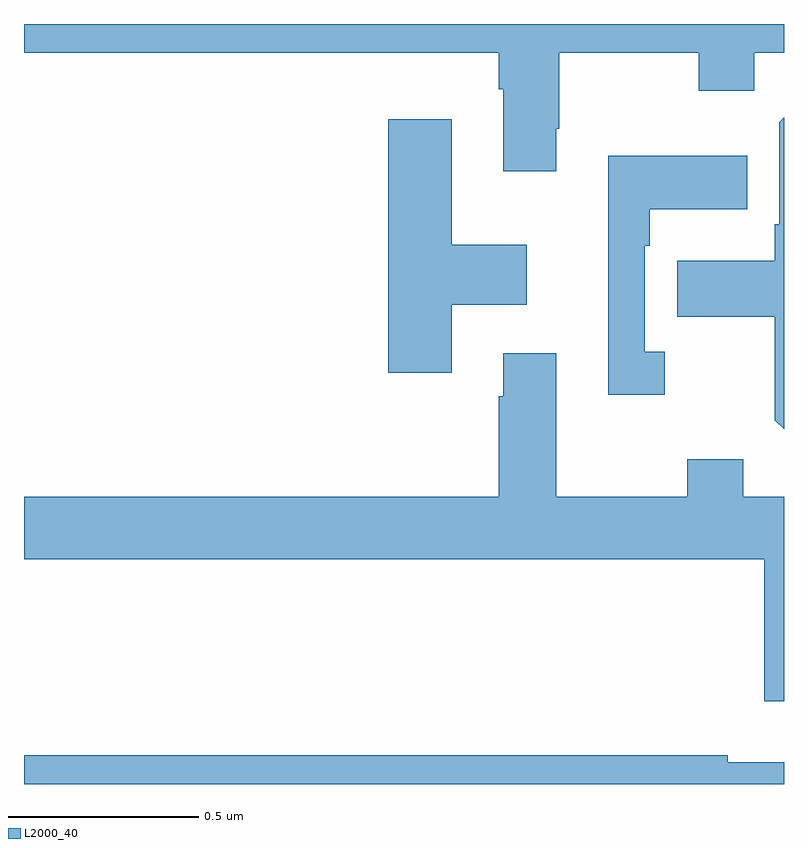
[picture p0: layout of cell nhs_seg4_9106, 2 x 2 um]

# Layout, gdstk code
import gdstk
lib = gdstk.Library(unit=1e-6, precision=1e-09)
def P(c, l, *ps):  # polygons
    for p in ps: c.add(gdstk.Polygon(p, *l))
L2000_40 = (2000, 40)

nhs_seg4_9106 = lib.new_cell('nhs_seg4_9106')
P(nhs_seg4_9106, L2000_40, [(224.401,792.625),(224.409,792.625),(224.409,792.824),(224.776,792.824),(224.776,792.725),(224.922,792.725),(224.922,792.824),(225,792.824),(225,792.9),(223,792.9),(223,792.824),(224.249,792.824),(224.249,792.728),(224.261,792.728),(224.261,792.513),(224.401,792.513)],
  [(225,792.654),(224.988,792.642),(224.988,792.373),(224.976,792.373),(224.976,792.277),(224.719,792.277),(224.719,792.13),(224.976,792.13),(224.976,791.857),(225,791.833)],
  [(224.125,792.161),(224.323,792.161),(224.323,792.319),(224.125,792.319),(224.125,792.649),(223.958,792.649),(223.958,791.982),(224.125,791.982)],
  [(224.686,792.038),(224.634,792.038),(224.634,792.317),(224.647,792.317),(224.647,792.413),(224.903,792.413),(224.903,792.553),(224.537,792.553),(224.537,791.925),(224.686,791.925)],
  [(225,791.656),(224.893,791.656),(224.893,791.755),(224.746,791.755),(224.746,791.656),(224.401,791.656),(224.401,792.034),(224.261,792.034),(224.261,791.921),(224.249,791.921),(224.249,791.656),(223,791.656),(223,791.492),(224.948,791.492),(224.948,791.118),(225,791.118)],
  [(225,790.957),(224.852,790.957),(224.852,790.976),(223,790.976),(223,790.9),(225,790.9)])

lib.write_gds('nhs_seg4_9106.gds')
